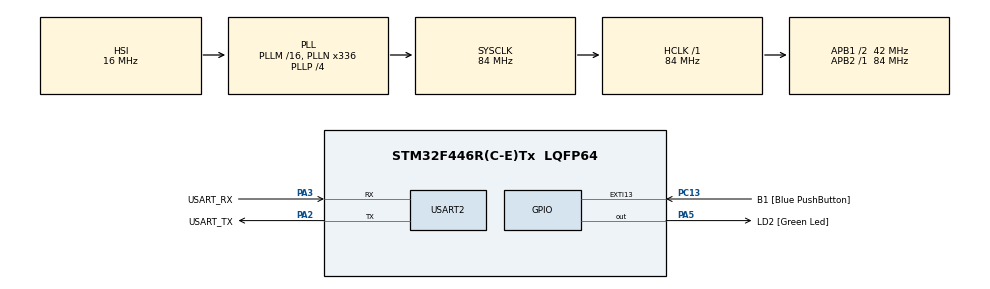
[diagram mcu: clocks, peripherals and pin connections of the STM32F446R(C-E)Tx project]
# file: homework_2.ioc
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Mcu.Family=STM32F4
Mcu.Name=STM32F446R(C-E)Tx
Mcu.Package=LQFP64
NVIC.PriorityGroup=NVIC_PRIORITYGROUP_0
PA13.GPIO_Label=TMS
PA13.Signal=SYS_JTMS-SWDIO
PA14.GPIO_Label=TCK
PA14.Signal=SYS_JTCK-SWCLK
PA2.GPIO_Label=USART_TX
PA2.Mode=Asynchronous
PA2.Signal=USART2_TX
PA3.GPIO_Label=USART_RX
PA3.Mode=Asynchronous
PA3.Signal=USART2_RX
PA5.GPIO_Label=LD2 [Green Led]
PA5.Signal=GPIO_Output
PB3.GPIO_Label=SWO
PB3.Signal=SYS_JTDO-SWO
PC13.GPIO_Label=B1 [Blue PushButton]
PC13.GPIO_ModeDefaultEXTI=GPIO_MODE_IT_FALLING
PC13.Signal=GPXTI13
PC14-OSC32_IN.Signal=RCC_OSC32_IN
PC15-OSC32_OUT.Signal=RCC_OSC32_OUT
PH0-OSC_IN.Signal=RCC_OSC_IN
PH1-OSC_OUT.Signal=RCC_OSC_OUT
ProjectManager.HeapSize=0x200
ProjectManager.StackSize=0x400
ProjectManager.TargetToolchain=STM32CubeIDE
RCC.AHBFreq_Value=84000000
RCC.APB1CLKDivider=RCC_HCLK_DIV2
RCC.APB1Freq_Value=42000000
RCC.APB1TimFreq_Value=84000000
RCC.APB2Freq_Value=84000000
RCC.APB2TimFreq_Value=84000000
RCC.CortexFreq_Value=84000000
RCC.FLatency-AdvancedSettings=FLASH_LATENCY_2
RCC.HCLKFreq_Value=84000000
RCC.HSE_VALUE=8000000
RCC.HSI_VALUE=16000000
RCC.LSE_VALUE=32768
RCC.PLLN=336
RCC.PLLP=RCC_PLLP_DIV4
RCC.SYSCLKFreq_VALUE=84000000
RCC.SYSCLKSource=RCC_SYSCLKSOURCE_PLLCLK
RCC.USBFreq_Value=168000000
RCC.VCOOutputFreq_Value=336000000
USART2.VirtualMode=VM_ASYNC
board=NUCLEO-F446RE

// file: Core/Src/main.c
/* USER CODE BEGIN Header */
/**
  ******************************************************************************
  * @file           : main.c
  * @brief          : Main program body
  ******************************************************************************
  * @attention
  *
  * Copyright (c) 2025 STMicroelectronics.
  * All rights reserved.
  *
  * This software is licensed under terms that can be found in the LICENSE file
  * in the root directory of this software component.
  * If no LICENSE file comes with this software, it is provided AS-IS.
  *
  ******************************************************************************
  */
/* USER CODE END Header */
#include "main.h"

/* USER CODE BEGIN Includes */
#include "lib_image.h"
#include "lib_serialimage.h"
#include "string.h"
/* USER CODE END Includes */

UART_HandleTypeDef huart2;

/* USER CODE BEGIN PV */
uint32_t g_histogram_data[256];

// İşlenmiş görüntü (filtre sonuçları) için buffer
uint8_t g_processed_image[128 * 128];

// Soru 3b: 3x3 Low Pass Filter (Box Blur) Kerneli
// (Tüm piksellerin ortalamasını alır)
const float g_kernel_low_pass[9] = {
  1.0f/9.0f, 1.0f/9.0f, 1.0f/9.0f,
  1.0f/9.0f, 1.0f/9.0f, 1.0f/9.0f,
  1.0f/9.0f, 1.0f/9.0f, 1.0f/9.0f
};

// Soru 3c: 3x3 High Pass Filter (Kenar Bulma) Kerneli
// (Merkez pikseli vurgular, komşuları çıkarır)
const float g_kernel_high_pass[9] = {
  -1.0f, -1.0f, -1.0f,
  -1.0f,  8.0f, -1.0f,
  -1.0f, -1.0f, -1.0f
};
/* USER CODE END PV */

void SystemClock_Config(void);
static void MX_GPIO_Init(void);
static void MX_USART2_UART_Init(void);
/* USER CODE BEGIN PFP */
void Homework_Calculate_Histogram(uint8_t* p_gray, uint32_t* p_hist, uint32_t width, uint32_t height);
void Homework_Apply_Histogram_EQ(uint8_t* p_gray, uint32_t* p_hist, uint32_t width, uint32_t height);
void Homework_Apply_Convolution(uint8_t* p_src, uint8_t* p_dst, uint32_t width, uint32_t height, const float* kernel);
static void Sort_Bubble_9(uint8_t *arr);
void Homework_Apply_Median_Filter(uint8_t* p_src, uint8_t* p_dst, uint32_t width, uint32_t height);
/* USER CODE END PFP */

/* USER CODE BEGIN 0 */
// 128x128 çözünürlük, RGB565 (2 byte) formatı için buffer
volatile uint8_t pImage[128*128];
IMAGE_HandleTypeDef img;
/* USER CODE END 0 */

int main(void)
{

  /* MCU Configuration--------------------------------------------------------*/

  /* Reset of all peripherals, Initializes the Flash interface and the Systick. */
  HAL_Init();

  /* Configure the system clock */
  SystemClock_Config();

  /* Initialize all configured peripherals */
  MX_GPIO_Init();
  MX_USART2_UART_Init();
  /* USER CODE BEGIN 2 */
  // Görüntü yapısını 128x128 olarak başlat
  LIB_IMAGE_InitStruct(&img, (uint8_t*)pImage, 128, 128, IMAGE_FORMAT_GRAYSCALE);
  /* USER CODE END 2 */

  /* Infinite loop */
  while (1)
  {

    /* USER CODE BEGIN 3 */

	  //question 1

/*      if (LIB_SERIAL_IMG_Receive(&img) == SERIAL_OK)  // PC -> MCU
	  	{
	  		// 2. (Soru 1) Gelen görüntünün (pImage) histogramını hesapla
	          //    ve sonucu g_histogram_data dizisine yaz
	  		Homework_Calculate_Histogram((uint8_t*)pImage, g_histogram_data, 128, 128);
	  	}
	}    */

	  //question 2

/*      if (LIB_SERIAL_IMG_Receive(&img) == SERIAL_OK)  // PC -> MCU
	  	{
	  		// 2. (Soru 1) Gelen görüntünün ORİJİNAL histogramını hesapla (g_histogram_data'ya yaz)
	  		Homework_Calculate_Histogram((uint8_t*)pImage, g_histogram_data, 128, 128);

	  		// 3. (Soru 2b) Hesaplanan histogramı kullanarak pImage'ı yerinde eşitle
	  		Homework_Apply_Histogram_EQ((uint8_t*)pImage, g_histogram_data, 128, 128);

	  		// 4. (Soru 2c) pImage artık eşitlendi. EŞİTLENMİŞ GÖRÜNTÜNÜN
	          //    yeni histogramını hesapla (g_histogram_data'nın üzerine yaz)
	          Homework_Calculate_Histogram((uint8_t*)pImage, g_histogram_data, 128, 128);

	  		// 5. İşlenmiş (eşitlenmiş) pImage görüntüsünü PC'ye geri gönder
	  	    LIB_SERIAL_IMG_Transmit(&img); // MCU -> PC
	  	}
	}    */

	  //question 3

/*      if (LIB_SERIAL_IMG_Receive(&img) == SERIAL_OK)  // PC -> MCU
	  	{
	  		// 2. (Soru 3b) Gelen görüntüye (pImage) Low Pass Filtre uygula
	          //    Sonucu g_processed_image buffer'ına yaz
	  		Homework_Apply_Convolution(
	              (uint8_t*)pImage,       // Kaynak
	              g_processed_image,      // Hedef
	              128, 128,               // Boyutlar
	              g_kernel_low_pass       // Low Pass Kernel
	          );

	  		// 3. Geri göndermeden önce, işlenmiş görüntüyü ana buffer'a kopyala
	          //    (Çünkü LIB_SERIAL_IMG_Transmit, pImage'ı gönderiyor)
	          memcpy((uint8_t*)pImage, g_processed_image, 128*128);

	  		// 4. İşlenmiş (bulanıklaştırılmış) pImage görüntüsünü PC'ye geri gönder
	  	    LIB_SERIAL_IMG_Transmit(&img); // MCU -> PC
	  	}
	 }     */

      //question 4

/*     if (LIB_SERIAL_IMG_Receive(&img) == SERIAL_OK)  // PC -> MCU
	  	{
	  		// 2. (Soru 4b) Gelen görüntüye (pImage) Medyan Filtre uygula
	          //    Sonucu g_processed_image buffer'ına yaz
	  		Homework_Apply_Median_Filter(
	              (uint8_t*)pImage,       // Kaynak
	              g_processed_image,      // Hedef
	              128, 128                // Boyutlar
	          );

	  		// 3. Geri göndermeden önce, işlenmiş görüntüyü ana buffer'a kopyala
	          memcpy((uint8_t*)pImage, g_processed_image, 128*128);

	  		// 4. İşlenmiş (gürültüsü temizlenmiş) pImage görüntüsünü PC'ye geri gönder
	          //    (Bu, Soru 4c'nin "sonuçları gösterme" [cite: 28] şartını karşılar)
	  	    LIB_SERIAL_IMG_Transmit(&img); // MCU -> PC
	  	}
	}    */

  /* USER CODE END 3 */
}

void SystemClock_Config(void)
{
  RCC_OscInitTypeDef RCC_OscInitStruct = {0};
  RCC_ClkInitTypeDef RCC_ClkInitStruct = {0};

  /** Configure the main internal regulator output voltage
  */
  __HAL_RCC_PWR_CLK_ENABLE();
  __HAL_PWR_VOLTAGESCALING_CONFIG(PWR_REGULATOR_VOLTAGE_SCALE3);

  /** Initializes the RCC Oscillators according to the specified parameters
  * in the RCC_OscInitTypeDef structure.
  */
  RCC_OscInitStruct.OscillatorType = RCC_OSCILLATORTYPE_HSI;
  RCC_OscInitStruct.HSIState = RCC_HSI_ON;
  RCC_OscInitStruct.HSICalibrationValue = RCC_HSICALIBRATION_DEFAULT;
  RCC_OscInitStruct.PLL.PLLState = RCC_PLL_ON;
  RCC_OscInitStruct.PLL.PLLSource = RCC_PLLSOURCE_HSI;
  RCC_OscInitStruct.PLL.PLLM = 16;
  RCC_OscInitStruct.PLL.PLLN = 336;
  RCC_OscInitStruct.PLL.PLLP = RCC_PLLP_DIV4;
  RCC_OscInitStruct.PLL.PLLQ = 2;
  RCC_OscInitStruct.PLL.PLLR = 2;
  if (HAL_RCC_OscConfig(&RCC_OscInitStruct) != HAL_OK)
  {
    Error_Handler();
  }

  /** Initializes the CPU, AHB and APB buses clocks
  */
  RCC_ClkInitStruct.ClockType = RCC_CLOCKTYPE_HCLK|RCC_CLOCKTYPE_SYSCLK
                              |RCC_CLOCKTYPE_PCLK1|RCC_CLOCKTYPE_PCLK2;
  RCC_ClkInitStruct.SYSCLKSource = RCC_SYSCLKSOURCE_PLLCLK;
  RCC_ClkInitStruct.AHBCLKDivider = RCC_SYSCLK_DIV1;
  RCC_ClkInitStruct.APB1CLKDivider = RCC_HCLK_DIV2;
  RCC_ClkInitStruct.APB2CLKDivider = RCC_HCLK_DIV1;

  if (HAL_RCC_ClockConfig(&RCC_ClkInitStruct, FLASH_LATENCY_2) != HAL_OK)
  {
    Error_Handler();
  }
}

static void MX_USART2_UART_Init(void)
{

  huart2.Instance = USART2;
  huart2.Init.BaudRate = 2000000;
  huart2.Init.WordLength = UART_WORDLENGTH_8B;
  huart2.Init.StopBits = UART_STOPBITS_1;
  huart2.Init.Parity = UART_PARITY_NONE;
  huart2.Init.Mode = UART_MODE_TX_RX;
  huart2.Init.HwFlowCtl = UART_HWCONTROL_NONE;
  huart2.Init.OverSampling = UART_OVERSAMPLING_16;
  if (HAL_UART_Init(&huart2) != HAL_OK)
  {
    Error_Handler();
  }

}

static void MX_GPIO_Init(void)
{
  GPIO_InitTypeDef GPIO_InitStruct = {0};

  /* GPIO Ports Clock Enable */
  __HAL_RCC_GPIOC_CLK_ENABLE();
  __HAL_RCC_GPIOH_CLK_ENABLE();
  __HAL_RCC_GPIOA_CLK_ENABLE();
  __HAL_RCC_GPIOB_CLK_ENABLE();

  /*Configure GPIO pin Output Level */
  HAL_GPIO_WritePin(LD2_GPIO_Port, LD2_Pin, GPIO_PIN_RESET);

  /*Configure GPIO pin : B1_Pin */
  GPIO_InitStruct.Pin = B1_Pin;
  GPIO_InitStruct.Mode = GPIO_MODE_IT_FALLING;
  GPIO_InitStruct.Pull = GPIO_NOPULL;
  HAL_GPIO_Init(B1_GPIO_Port, &GPIO_InitStruct);

  /*Configure GPIO pin : LD2_Pin */
  GPIO_InitStruct.Pin = LD2_Pin;
  GPIO_InitStruct.Mode = GPIO_MODE_OUTPUT_PP;
  GPIO_InitStruct.Pull = GPIO_NOPULL;
  GPIO_InitStruct.Speed = GPIO_SPEED_FREQ_LOW;
  HAL_GPIO_Init(LD2_GPIO_Port, &GPIO_InitStruct);

}

/* USER CODE BEGIN 4 */
void Homework_Calculate_Histogram(uint8_t* p_gray, uint32_t* p_hist, uint32_t width, uint32_t height)
{
  uint32_t i;
  uint32_t total_pixels = width * height; // 128 * 128 = 16384

  // 1. Önce histogram dizisinin (g_histogram_data) içini temizle (sıfırla)
  for (i = 0; i < 256; i++)
  {
    p_hist[i] = 0;
  }

  // 2. Görüntünün tüm piksellerini (0'dan 16383'e kadar) tek tek dolaş
  for (i = 0; i < total_pixels; i++)
  {
    // O anki pikselin değerini oku (örn: 150)
    uint8_t pixel_value = p_gray[i];

    // Histogram dizisinde o değere (150'ye) karşılık gelen sayacı 1 arttır
    p_hist[pixel_value]++;
  }
}

void Homework_Apply_Histogram_EQ(uint8_t* p_gray, uint32_t* p_hist, uint32_t width, uint32_t height)
{
  uint32_t i;
  uint32_t total_pixels = width * height; // 16384

  // 1. Kümülatif Dağılım Fonksiyonu (CDF) için bir dizi oluştur
  //    (Bu, 'uint32_t' olmalı çünkü 16384'e kadar çıkabilir)
  static uint32_t cdf[256]; // static olarak tanımlamak stack taşmasını önler
  cdf[0] = p_hist[0];

  for (i = 1; i < 256; i++)
  {
    cdf[i] = cdf[i-1] + p_hist[i];
  }

  // 2. CDF'deki sıfır olmayan ilk (minimum) değeri bul
  uint32_t cdf_min = 0;
  for (i = 0; i < 256; i++)
  {
    if (cdf[i] != 0)
    {
      cdf_min = cdf[i];
      break;
    }
  }

  // 3. Normalizasyon için "Look-Up Table" (LUT) oluştur
  //    Formül: h(v) = round( ( (CDF(v) - CDF_min) * 255 ) / (ToplamPiksel - CDF_min) )

  uint8_t lut[256];

  // Kayan nokta (float) bölme işlemi için ölçek faktörü
  // (ToplamPiksel - cdf_min) 0 olamaz (eğer görüntü boş değilse)
  float scale_factor = 255.0f / (float)(total_pixels - cdf_min);

  for (i = 0; i < 256; i++)
  {
    float h_v = (float)(cdf[i] - cdf_min) * scale_factor;
    // En yakın tam sayıya yuvarla (0.5f eklemek yuvarlama içindir)
    lut[i] = (uint8_t)(h_v + 0.5f);
  }

  // 4. Görüntüyü LUT kullanarak "yerinde" yeniden haritala
  //    (Yani pImage'ın içeriğini kalıcı olarak değiştir)
  for (i = 0; i < total_pixels; i++)
  {
    p_gray[i] = lut[p_gray[i]];
  }
}

void Homework_Apply_Convolution(uint8_t* p_src, uint8_t* p_dst, uint32_t width, uint32_t height, const float* kernel)
{
  uint32_t x, y, kx, ky;
  float sum;
  uint32_t img_idx, kernel_idx;

  // Görüntünün tamamı üzerinde dolaş (y = satır, x = sütun)
  for (y = 0; y < height; y++)
  {
    for (x = 0; x < width; x++)
    {
      // Kenardaki pikselleri (kernelin taşacağı yerleri) atla/sıfırla
      if (y == 0 || y == height - 1 || x == 0 || x == width - 1)
      {
        p_dst[y * width + x] = 0; // Kenarları siyah yap
      }
      else
      {
        sum = 0.0f; // Toplamı sıfırla

        // 3x3'lük Kernel'i dolaş (ky = kernel satır, kx = kernel sütun)
        for (ky = 0; ky < 3; ky++)
        {
          for (kx = 0; kx < 3; kx++)
          {
            // Görüntüdeki ilgili pikselin indeksi
            img_idx = (y + ky - 1) * width + (x + kx - 1);
            // Kernel'deki ilgili ağırlığın indeksi
            kernel_idx = ky * 3 + kx;

            // Toplamı hesapla = (piksel * ağırlık)
            sum += (float)p_src[img_idx] * kernel[kernel_idx];
          }
        }

        // Toplam değeri 0-255 aralığına sıkıştır (Clipping/Clamping)
        if (sum < 0.0f)   sum = 0.0f;
        if (sum > 255.0f) sum = 255.0f;

        // Sonucu hedef buffer'a yaz
        p_dst[y * width + x] = (uint8_t)sum;
      }
    }
  }
}

static void Sort_Bubble_9(uint8_t *arr)
{
    int i, j;
    uint8_t temp;
    // Basit bir bubble sort (9 eleman için yeterince hızlı)
    for (i = 0; i < 8; i++) {
        for (j = 0; j < 8 - i; j++) {
            if (arr[j] > arr[j + 1]) {
                temp = arr[j];
                arr[j] = arr[j + 1];
                arr[j + 1] = temp;
            }
        }
    }
}

/**
  * @brief  Soru 4a: Görüntüye 3x3 Medyan Filtreleme uygular.
  * @param  p_src: Kaynak grayscale görüntü buffer'ı (pImage).
  * @param  p_dst: Hedef grayscale görüntü buffer'ı (g_processed_image).
  * @param  width: Görüntü genişliği
  * @param  height: Görüntü yüksekliği
  */

void Homework_Apply_Median_Filter(uint8_t* p_src, uint8_t* p_dst, uint32_t width, uint32_t height)
{
  uint32_t x, y, kx, ky;
  uint8_t window[9]; // 3x3'lük pencereyi tutacak dizi
  uint8_t window_idx;

  // Görüntünün tamamı üzerinde dolaş (y = satır, x = sütun)
  for (y = 0; y < height; y++)
  {
    for (x = 0; x < width; x++)
    {
      // Kenardaki pikselleri (pencerenin taşacağı yerleri) atla/sıfırla
      if (y == 0 || y == height - 1 || x == 0 || x == width - 1)
      {
        p_dst[y * width + x] = 0; // Kenarları siyah yap
      }
      else
      {
        window_idx = 0;

        // 1. 3x3'lük penceredeki pikselleri 'window' dizisine kopyala
        for (ky = 0; ky < 3; ky++)
        {
          for (kx = 0; kx < 3; kx++)
          {
            window[window_idx] = p_src[(y + ky - 1) * width + (x + kx - 1)];
            window_idx++;
          }
        }

        // 2. 'window' dizisini sırala
        Sort_Bubble_9(window);

        // 3. Sıralanmış dizinin ortasındaki (medyan) değeri al
        //    (9 eleman için 5. eleman, yani index 4)
        p_dst[y * width + x] = window[4];
      }
    }
  }
}
/* USER CODE END 4 */

void Error_Handler(void)
{
  __disable_irq();
  while (1)
  {
  }
}
